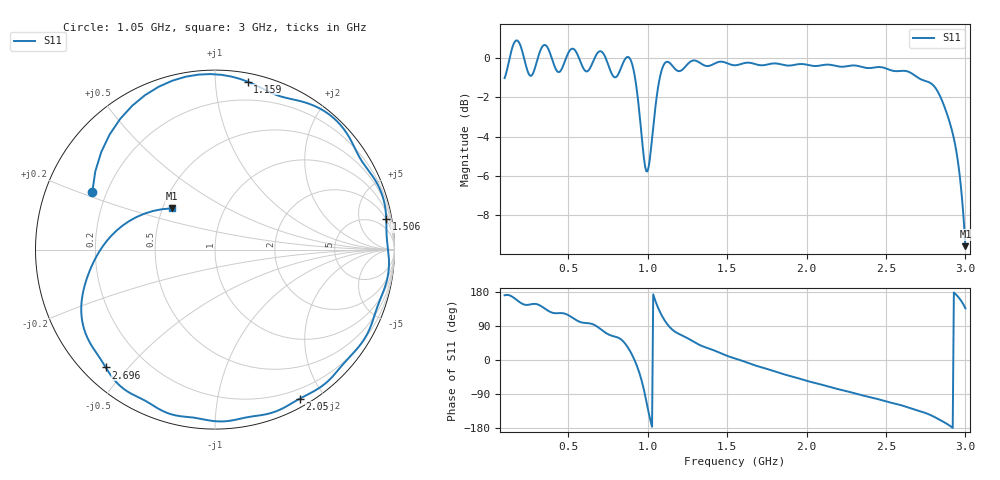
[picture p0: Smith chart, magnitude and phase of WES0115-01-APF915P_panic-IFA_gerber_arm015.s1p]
! openEMS-z2labs kicad_sim, WES0115-01-APF915P_panic-IFA.kicad_pcb
! ports: 1=SMA5 (F.Cu over B.Cu)
! stackup: file
! copper: sheet, mask: False
# Hz S RI R 50
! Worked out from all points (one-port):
!   401 points, 100 MHz to 3 GHz, reference 50 ohm
!   lowest |S11| = -9.6 dB at 3 GHz (marker M1), VSWR 2.00, Z = 28 + j14.4 ohm
!   |S11| at or under -10 dB: nowhere
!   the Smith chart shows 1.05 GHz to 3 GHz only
!   S11 on the Smith chart (normalised r, x): 1.05 GHz: 0.15, +0.22; 1.159 GHz: 0.06, +1.21; 1.506 GHz: 2, +11; 2.05 GHz: 0.09, -1.72; 2.696 GHz: 0.07, -0.44; 3 GHz: 0.56, +0.29
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1e8  -0.8782 0.1432
1.6525e8  -1.049 0.3407
2.45e8  -0.7627 0.5254
3.2475e8  -0.8398 0.623
3.755e8  -0.6707 0.8141
4.625e8  -0.5237 0.7856
5.35e8  -0.3497 0.9956
6.945e8  0.0973 1.035
8.25e8  0.5116 0.7741
8.685e8  0.795 0.6158
9.12e8  0.9286 0.083
9.41e8  0.7015 -0.3276
9.7e8  0.2341 -0.542
1.0135e9  -0.4873 -0.2599
1.04975e9  -0.6837 0.3211
1.1005e9  -0.3141 0.9072
1.1585e9  0.1817 0.936
1.1875e9  0.3034 0.8781
1.318e9  0.733 0.6496
1.5065e9  0.954 0.1689
1.55e9  0.9569 0.0685
1.9125e9  0.6917 -0.6651
2.05025e9  0.4731 -0.8296
2.275e9  0.0891 -0.9528
2.6375e9  -0.5302 -0.7581
2.6955e9  -0.6086 -0.6567
2.87675e9  -0.7166 -0.1684
3e9  -0.2402 0.2297
